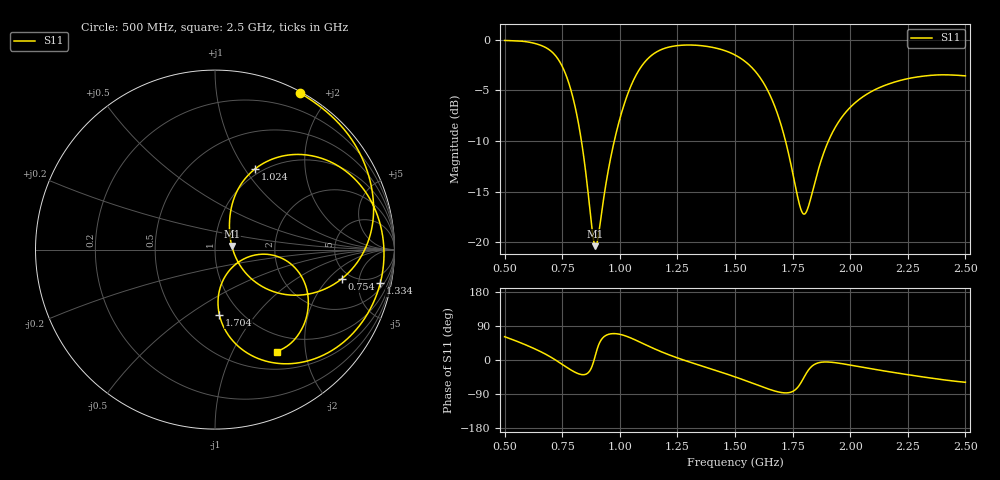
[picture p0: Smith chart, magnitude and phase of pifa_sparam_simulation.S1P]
! TOUCHSTONE file generated by CST MICROWAVE STUDIO
! Date and time: Tue Jan 16 18:05:10 2024
! Project name: DualBandPIFA.cst
! Parameters = {AirCoaxRadius=1.5; FeedXoffset=28; FeedYoffset=6.35; PatchWidth=34; ShortingPinXoffset=5.2; ShortingPinYoffset=6.35; Slot1Length=24.4; Slot1Width=1; Slot1Xoffset=42; Slot2Length=14.6; Slot2Width=3; f1=0.9075; f2=1.795}
! Header version: 2018
! Port assignment regex: !\s*Touchstone port\s*([0-9]+)\s*=\s*(CST MWS port|CST DS port)\s*([0-9]+|Zmin|Zmax)\s*\(\"(.*)\"\)(\s*mode\s*([0-9]+))?.*
! Touchstone port assignment:
! Touchstone port 1 = CST MWS port 1 ("")
# GHz S DB R 50
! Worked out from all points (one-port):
!   1001 points, 500 MHz to 2.5 GHz, reference 50 ohm
!   lowest |S11| = -20.4 dB at 894 MHz (marker M1), VSWR 1.21, Z = 60.3 + j2.49 ohm
!   |S11| at or under -10 dB: 833.5 MHz to 976 MHz (142.5 MHz wide, 15.7 % of centre); 1.719 GHz to 1.905 GHz (186.1 MHz wide, 10.3 % of centre)
!   S11 on the Smith chart (normalised r, x): 500 MHz: 0.01, +1.68; 754 MHz: 4.18, -2.87; 1.024 GHz: 0.93, +1.11; 1.334 GHz: 2.82, -9.03; 1.704 GHz: 0.80, -0.67; 2.5 GHz: 0.74, -1.51
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0.5  -0.07 61.6
0.578  -0.15 43.4
0.656  -0.54 22.2
0.706  -1.21 5.6
0.75  -2.62 -11.5
0.754  -2.81 -13.1
0.812  -7.25 -34.2
0.852  -13.06 -37.7
0.88  -18.81 -15.8
0.894  -20.38 12.3
1  -7.82 67.8
1.024  -6.02 63.7
1.07  -3.52 52.2
1.114  -2.05 39.6
1.18  -0.97 21.8
1.25  -0.58 5.6
1.334  -0.54 -11.5
1.416  -0.81 -27.4
1.5  -1.50 -44.5
1.6  -3.45 -66.6
1.704  -8.72 -86.1
1.75  -13.10 -83.1
1.784  -16.61 -62.2
1.806  -17.13 -38.7
1.904  -10.07 -5.3
2  -6.67 -13.4
2.25  -3.84 -38.8
2.5  -3.56 -58.8
